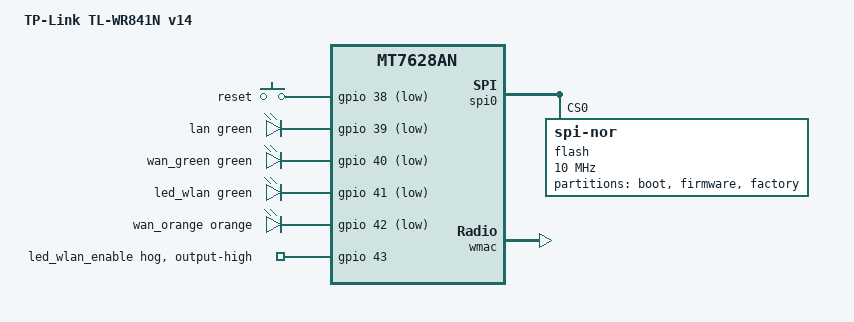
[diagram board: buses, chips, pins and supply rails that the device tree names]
// SPDX-License-Identifier: GPL-2.0-or-later OR MIT

#include "mt7628an.dtsi"

#include <dt-bindings/gpio/gpio.h>
#include <dt-bindings/input/input.h>
#include <dt-bindings/leds/common.h>

/ {
	compatible = "tplink,tl-wr841n-v14", "mediatek,mt7628an-soc";
	model = "TP-Link TL-WR841N v14";

	aliases {
		led-boot = &led_wlan;
		led-failsafe = &led_wlan;
		led-upgrade = &led_wlan;
	};

	chosen {
		bootargs = "console=ttyS0,115200";
	};

	keys {
		compatible = "gpio-keys";

		reset {
			label = "reset";
			gpios = <&gpio 38 GPIO_ACTIVE_LOW>;
			linux,code = <KEY_RESTART>;
		};
	};

	leds {
		compatible = "gpio-leds";

		lan {
			function = LED_FUNCTION_LAN;
			color = <LED_COLOR_ID_GREEN>;
			gpios = <&gpio 39 GPIO_ACTIVE_LOW>;
		};

		wan_green {
			function = LED_FUNCTION_WAN;
			color = <LED_COLOR_ID_GREEN>;
			gpios = <&gpio 40 GPIO_ACTIVE_LOW>;
		};

		led_wlan: wlan {
			function = LED_FUNCTION_WLAN;
			color = <LED_COLOR_ID_GREEN>;
			gpios = <&gpio 41 GPIO_ACTIVE_LOW>;
			linux,default-trigger = "phy0tpt";
		};

		wan_orange {
			function = LED_FUNCTION_WAN;
			color = <LED_COLOR_ID_ORANGE>;
			gpios = <&gpio 42 GPIO_ACTIVE_LOW>;
		};
	};
};

&spi0 {
	status = "okay";

	flash@0 {
		compatible = "jedec,spi-nor";
		reg = <0>;
		spi-max-frequency = <10000000>;

		partitions {
			compatible = "fixed-partitions";
			#address-cells = <1>;
			#size-cells = <1>;

			partition@0 {
				label = "boot";
				reg = <0x0 0x10000>;
				read-only;
			};

			partition@10000 {
				compatible = "tplink,firmware";
				label = "firmware";
				reg = <0x10000 0x3e0000>;
			};

			partition@3f0000 {
				label = "factory";
				reg = <0x3f0000 0x10000>;
				read-only;

				nvmem-layout {
					compatible = "fixed-layout";
					#address-cells = <1>;
					#size-cells = <1>;

					eeprom_factory_0: eeprom@0 {
						reg = <0x0 0x400>;
					};

					macaddr_factory_f100: macaddr@f100 {
						reg = <0xf100 0x6>;
					};
				};
			};
		};
	};
};

&ehci {
	status = "disabled";
};

&ohci {
	status = "disabled";
};

&wmac {
	status = "okay";

	nvmem-cells = <&eeprom_factory_0>, <&macaddr_factory_f100>;
	nvmem-cell-names = "eeprom", "mac-address";
};

&ethernet {
	nvmem-cells = <&macaddr_factory_f100>;
	nvmem-cell-names = "mac-address";
};

&esw {
	mediatek,portmap = <0x3e>;
};

&state_default {
	gpio {
		groups = "p4led_an", "p3led_an", "p2led_an", "p1led_an", "p0led_an", "wdt";
		function = "gpio";
	};
};

&gpio {
	led_wlan_enable {
		gpio-hog;
		gpios = <43 GPIO_ACTIVE_HIGH>;
		output-high;
	};
};
